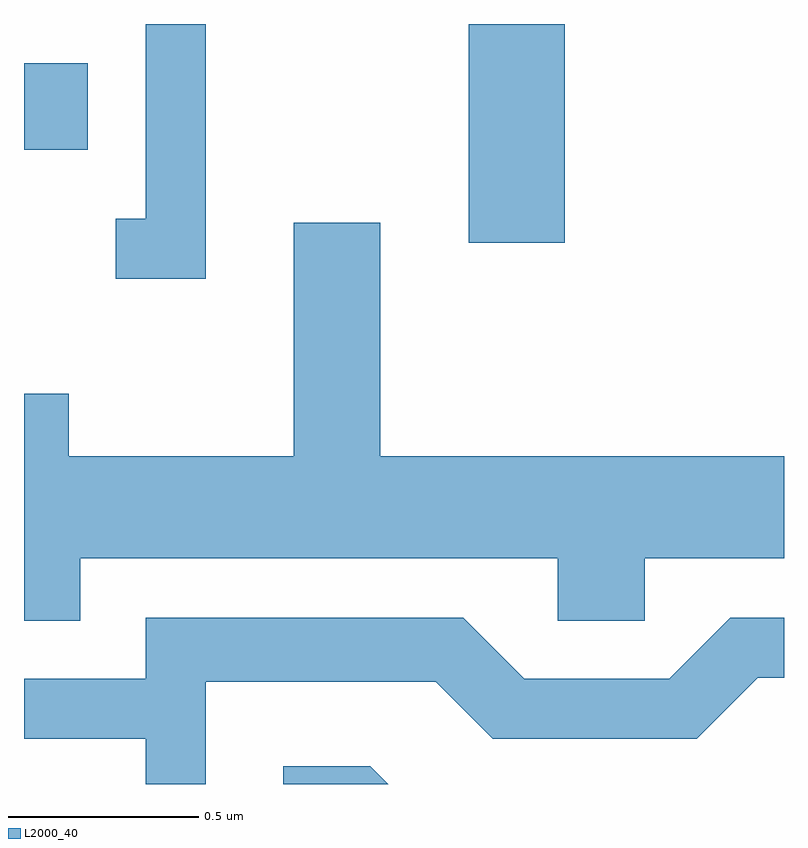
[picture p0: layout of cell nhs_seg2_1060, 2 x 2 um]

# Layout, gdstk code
import gdstk
lib = gdstk.Library(unit=1e-6, precision=1e-09)
def R(c, l, rs):  # rectangles x0, y0, x1, y1
    for r in rs: c.add(gdstk.rectangle(r[:2], r[2:], *l))
def P(c, l, *ps):  # polygons
    for p in ps: c.add(gdstk.Polygon(p, *l))
L2000_40 = (2000, 40)

nhs_seg2_1060 = lib.new_cell('nhs_seg2_1060')
R(nhs_seg2_1060, L2000_40, [(193.781,1080.226,194.034,1080.802), (192.611,1080.471,192.779,1080.699)])
P(nhs_seg2_1060, L2000_40, [(193.089,1080.802),(192.931,1080.802),(192.931,1080.289),(192.853,1080.289),(192.853,1080.131),(193.089,1080.131)],
  [(192.759,1079.396),(194.016,1079.396),(194.016,1079.231),(194.244,1079.231),(194.244,1079.396),(194.611,1079.396),(194.611,1079.664),(193.549,1079.664),(193.549,1080.279),(193.321,1080.279),(193.321,1079.664),(192.729,1079.664),(192.729,1079.829),(192.611,1079.829),(192.611,1079.231),(192.759,1079.231)],
  [(193.089,1079.071),(193.694,1079.071),(193.844,1078.921),(194.382,1078.921),(194.542,1079.081),(194.611,1079.081),(194.611,1079.239),(194.469,1079.239),(194.309,1079.079),(193.927,1079.079),(193.767,1079.239),(192.931,1079.239),(192.931,1079.079),(192.611,1079.079),(192.611,1078.921),(192.931,1078.921),(192.931,1078.802),(193.089,1078.802)],
  [(193.522,1078.849),(193.293,1078.849),(193.293,1078.802),(193.569,1078.802)])

lib.write_gds('nhs_seg2_1060.gds')
